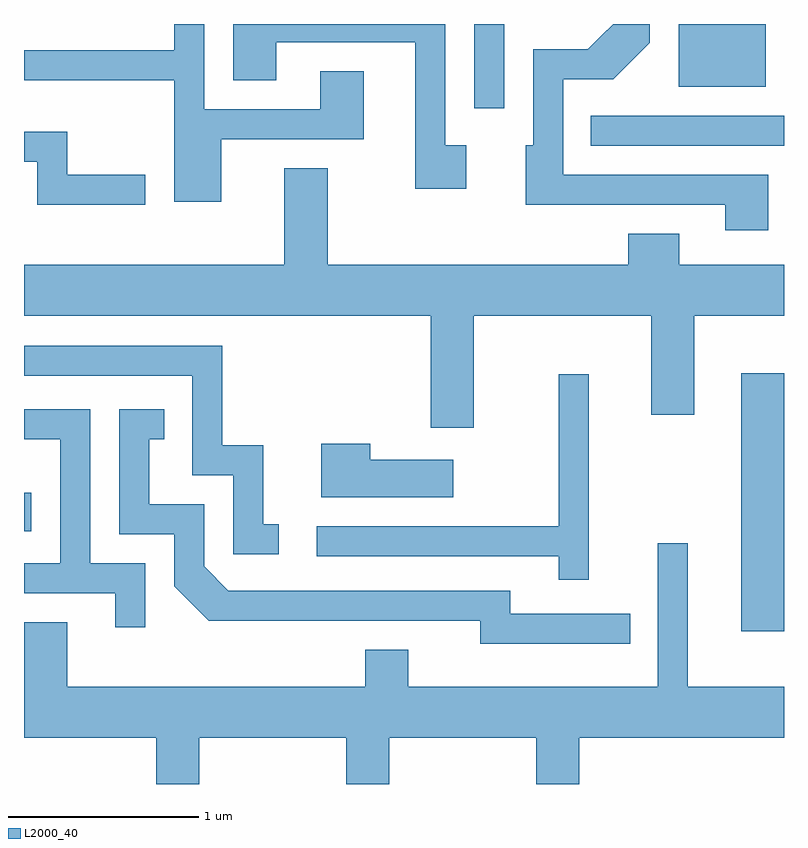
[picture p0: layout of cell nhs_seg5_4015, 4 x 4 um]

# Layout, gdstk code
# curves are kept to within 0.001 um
import gdstk
lib = gdstk.Library(unit=1e-6, precision=1e-09)
def R(c, l, rs):  # rectangles x0, y0, x1, y1
    for r in rs: c.add(gdstk.rectangle(r[:2], r[2:], *l))
def P(c, l, *ps):  # polygons
    for p in ps: c.add(gdstk.Polygon(p, *l))
L2000_40 = (2000, 40)

nhs_seg5_4015 = lib.new_cell('nhs_seg5_4015')
R(nhs_seg5_4015, L2000_40, [(307.386,1492.876,307.611,1494.234), (303.611,1493.401,303.649,1493.604), (306.593,1495.431,307.611,1495.589), (305.981,1495.628,306.139,1496.072), (307.056,1495.741,307.514,1496.072)])
P(nhs_seg5_4015, L2000_40, [(305.939,1495.434),(305.829,1495.434),(305.829,1496.072),(304.711,1496.072),(304.711,1495.776),(304.939,1495.776),(304.939,1495.976),(305.671,1495.976),(305.671,1495.206),(305.939,1495.206)],
  [(304.649,1495.466),(305.399,1495.466),(305.399,1495.824),(305.171,1495.824),(305.171,1495.624),(304.559,1495.624),(304.559,1496.072),(304.401,1496.072),(304.401,1495.934),(303.611,1495.934),(303.611,1495.776),(304.401,1495.776),(304.401,1495.136),(304.649,1495.136)],
  [(307.529,1495.279),(306.449,1495.279),(306.449,1495.781),(306.712,1495.781),(306.904,1495.974),(306.904,1496.072),(306.711,1496.072),(306.579,1495.939),(306.291,1495.939),(306.291,1495.434),(306.251,1495.434),(306.251,1495.121),(307.301,1495.121),(307.301,1494.986),(307.529,1494.986)],
  [(304.248,1495.279),(303.839,1495.279),(303.839,1495.504),(303.611,1495.504),(303.611,1495.346),(303.681,1495.346),(303.681,1495.121),(304.248,1495.121)],
  [(305.979,1494.536),(306.911,1494.536),(306.911,1494.016),(307.139,1494.016),(307.139,1494.536),(307.611,1494.536),(307.611,1494.804),(307.059,1494.804),(307.059,1494.969),(306.791,1494.969),(306.791,1494.804),(305.209,1494.804),(305.209,1495.314),(304.981,1495.314),(304.981,1494.804),(303.611,1494.804),(303.611,1494.536),(305.751,1494.536),(305.751,1493.946),(305.979,1493.946)],
  [(304.953,1493.439),(304.869,1493.439),(304.869,1493.854),(304.654,1493.854),(304.654,1494.379),(303.611,1494.379),(303.611,1494.221),(304.496,1494.221),(304.496,1493.696),(304.711,1493.696),(304.711,1493.281),(304.953,1493.281)],
  [(306.584,1494.228),(306.426,1494.228),(306.426,1493.429),(305.153,1493.429),(305.153,1493.271),(306.426,1493.271),(306.426,1493.148),(306.584,1493.148)],
  [(306.803,1492.969),(306.169,1492.969),(306.169,1493.089),(304.687,1493.089),(304.559,1493.217),(304.559,1493.544),(304.269,1493.544),(304.269,1493.886),(304.348,1493.886),(304.348,1494.044),(304.111,1494.044),(304.111,1493.386),(304.401,1493.386),(304.401,1493.114),(304.584,1492.931),(306.011,1492.931),(306.011,1492.811),(306.803,1492.811)],
  [(304.249,1493.234),(303.959,1493.234),(303.959,1494.044),(303.611,1494.044),(303.611,1493.886),(303.801,1493.886),(303.801,1493.234),(303.611,1493.234),(303.611,1493.076),(304.091,1493.076),(304.091,1492.898),(304.249,1492.898)],
  [(305.869,1493.779),(305.434,1493.779),(305.434,1493.864),(305.176,1493.864),(305.176,1493.581),(305.869,1493.581)],
  [(304.534,1492.316),(305.306,1492.316),(305.306,1492.072),(305.534,1492.072),(305.534,1492.316),(306.306,1492.316),(306.306,1492.072),(306.534,1492.072),(306.534,1492.316),(307.611,1492.316),(307.611,1492.584),(307.104,1492.584),(307.104,1493.338),(306.946,1493.338),(306.946,1492.584),(305.634,1492.584),(305.634,1492.779),(305.406,1492.779),(305.406,1492.584),(303.839,1492.584),(303.839,1492.924),(303.611,1492.924),(303.611,1492.316),(304.306,1492.316),(304.306,1492.072),(304.534,1492.072)])

lib.write_gds('nhs_seg5_4015.gds')
